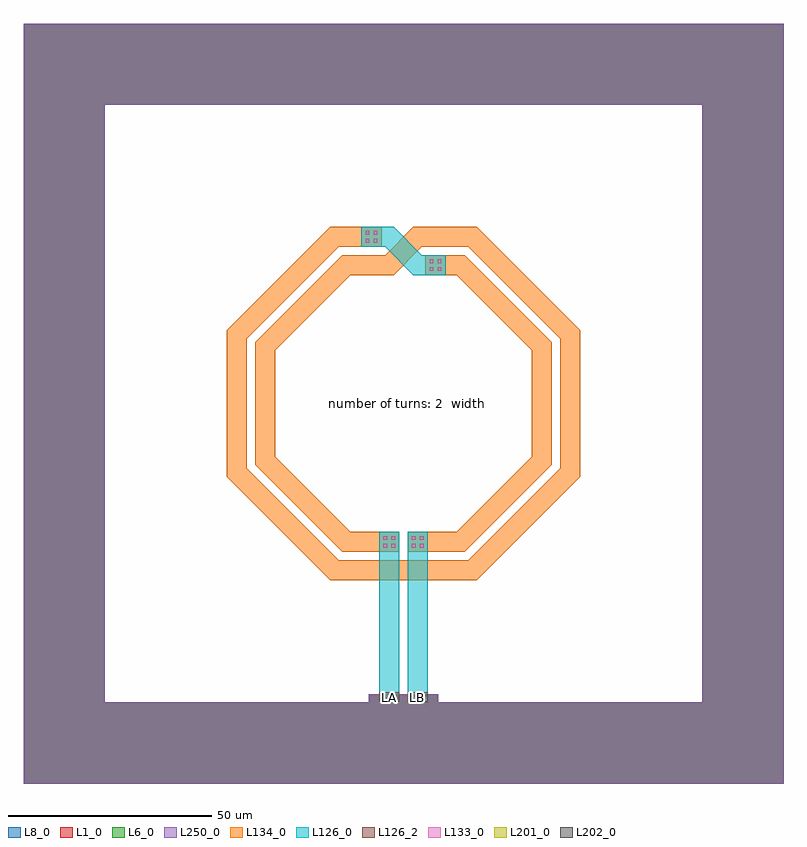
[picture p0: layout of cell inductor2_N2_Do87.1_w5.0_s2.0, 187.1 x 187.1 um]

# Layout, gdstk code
import gdstk
lib = gdstk.Library(unit=1e-6, precision=1e-09)
def R(c, l, rs):  # rectangles x0, y0, x1, y1
    for r in rs: c.add(gdstk.rectangle(r[:2], r[2:], *l))
def P(c, l, *ps):  # polygons
    for p in ps: c.add(gdstk.Polygon(p, *l))
L1_0 = (1, 0)
L6_0 = (6, 0)
L8_0 = (8, 0)
L126_0 = (126, 0)
L126_2 = (126, 2)
L133_0 = (133, 0)
L134_0 = (134, 0)
L201_0 = (201, 0)
L202_0 = (202, 0)
L250_0 = (250, 0)

inductor2_n2_do87_1_w5_0 = lib.new_cell('inductor2_N2_Do87.1_w5.0_s2.0')
P(inductor2_n2_do87_1_w5_0, L1_0, [(-93.55,73.55),(-73.55,73.55),(73.55,73.55),(73.55,-73.55),(8.5,-73.55),(8.5,-71.55),(-8.5,-71.55),(-8.5,-73.55),(-73.55,-73.55),(-73.55,73.55),(-93.55,73.55),(-93.55,-93.55),(93.55,-93.55),(93.55,93.55),(-93.55,93.55)])
P(inductor2_n2_do87_1_w5_0, L6_0, [(-93.55,73.55),(-73.55,73.55),(73.55,73.55),(73.55,-73.55),(8.5,-73.55),(8.5,-71.55),(-8.5,-71.55),(-8.5,-73.55),(-73.55,-73.55),(-73.55,73.55),(-93.55,73.55),(-93.55,-93.55),(93.55,-93.55),(93.55,93.55),(-93.55,93.55)])
P(inductor2_n2_do87_1_w5_0, L8_0, [(-93.55,73.55),(-73.55,73.55),(73.55,73.55),(73.55,-73.55),(8.5,-73.55),(8.5,-71.55),(-8.5,-71.55),(-8.5,-73.55),(-73.55,-73.55),(-73.55,73.55),(-93.55,73.55),(-93.55,-93.55),(93.55,-93.55),(93.55,93.55),(-93.55,93.55)])
R(inductor2_n2_do87_1_w5_0, L126_0, [(-6,-73.55,-1,-31.55), (1,-73.55,6,-31.55)])
P(inductor2_n2_do87_1_w5_0, L126_0, [(-10.36,43.55),(-10.36,38.55),(-4.54,38.55),(2.46,31.55),(10.36,31.55),(10.36,36.55),(4.54,36.55),(-2.46,43.55)])
R(inductor2_n2_do87_1_w5_0, L126_2, [(-6,-73.55,-1,-71.05), (1,-73.55,6,-71.05)])
R(inductor2_n2_do87_1_w5_0, L133_0, [(-4.93,-35.48,-4.03,-34.58), (-2.97,-35.48,-2.07,-34.58), (2.07,-35.48,2.97,-34.58), (4.03,-35.48,4.93,-34.58), (-4.93,-33.52,-4.03,-32.62), (-2.97,-33.52,-2.07,-32.62), (2.07,-33.52,2.97,-32.62), (4.03,-33.52,4.93,-32.62), (6.44,32.62,7.34,33.52), (8.4,32.62,9.3,33.52), (6.44,34.58,7.34,35.48), (8.4,34.58,9.3,35.48), (-9.3,39.62,-8.4,40.52), (-7.34,39.62,-6.44,40.52), (-9.3,41.58,-8.4,42.48), (-7.34,41.58,-6.44,42.48)])
R(inductor2_n2_do87_1_w5_0, L134_0, [(-10.36,-43.55,10.36,-38.55)])
P(inductor2_n2_do87_1_w5_0, L134_0, [(-5.36,-43.55),(-5.36,-38.55),(-15.96,-38.55),(-38.55,-15.96),(-38.55,5),(-43.55,5),(-43.55,-18.04),(-18.04,-43.55)],
  [(-5.36,38.55),(-5.36,43.55),(-18.04,43.55),(-43.55,18.04),(-43.55,-5),(-38.55,-5),(-38.55,15.96),(-15.96,38.55)],
  [(5.36,-38.55),(5.36,-43.55),(18.04,-43.55),(43.55,-18.04),(43.55,5),(38.55,5),(38.55,-15.96),(15.96,-38.55)],
  [(5.36,43.55),(5.36,38.55),(15.96,38.55),(38.55,15.96),(38.55,-5),(43.55,-5),(43.55,18.04),(18.04,43.55)],
  [(-1,-36.55),(-1,-31.55),(-13.06,-31.55),(-31.55,-13.06),(-31.55,5),(-36.55,5),(-36.55,-15.14),(-15.14,-36.55)],
  [(-5.36,31.55),(-5.36,36.55),(-15.14,36.55),(-36.55,15.14),(-36.55,-5),(-31.55,-5),(-31.55,13.06),(-13.06,31.55)],
  [(1,-31.55),(1,-36.55),(15.14,-36.55),(36.55,-15.14),(36.55,5),(31.55,5),(31.55,-13.06),(13.06,-31.55)],
  [(5.36,36.55),(5.36,31.55),(13.06,31.55),(31.55,13.06),(31.55,-5),(36.55,-5),(36.55,15.14),(15.14,36.55)],
  [(-10.36,36.55),(-10.36,31.55),(-2.46,31.55),(4.54,38.55),(10.36,38.55),(10.36,43.55),(2.46,43.55),(-4.54,36.55)])
R(inductor2_n2_do87_1_w5_0, L201_0, [(-6,-73.55,-1,-73.45)])
R(inductor2_n2_do87_1_w5_0, L202_0, [(1,-73.55,6,-73.45)])
P(inductor2_n2_do87_1_w5_0, L250_0, [(-93.55,73.55),(-73.55,73.55),(73.55,73.55),(73.55,-73.55),(8.5,-73.55),(8.5,-71.55),(-8.5,-71.55),(-8.5,-73.55),(-73.55,-73.55),(-73.55,73.55),(-93.55,73.55),(-93.55,-93.55),(93.55,-93.55),(93.55,93.55),(-93.55,93.55)])
inductor2_n2_do87_1_w5_0.add(gdstk.Label('LA', (-3.5,-72.3), layer=27, texttype=25))
inductor2_n2_do87_1_w5_0.add(gdstk.Label('LB', (3.5,-72.3), layer=27, texttype=25))
inductor2_n2_do87_1_w5_0.add(gdstk.Label('  number of turns: 2\n  width: 5.00\n  spacing: 2.00\n  outer diameter: 87.10\n  inner diameter: 63.10\n', (0,0), layer=63, texttype=0))

lib.write_gds('inductor2_N2_Do87.1_w5.0_s2.0.gds')
